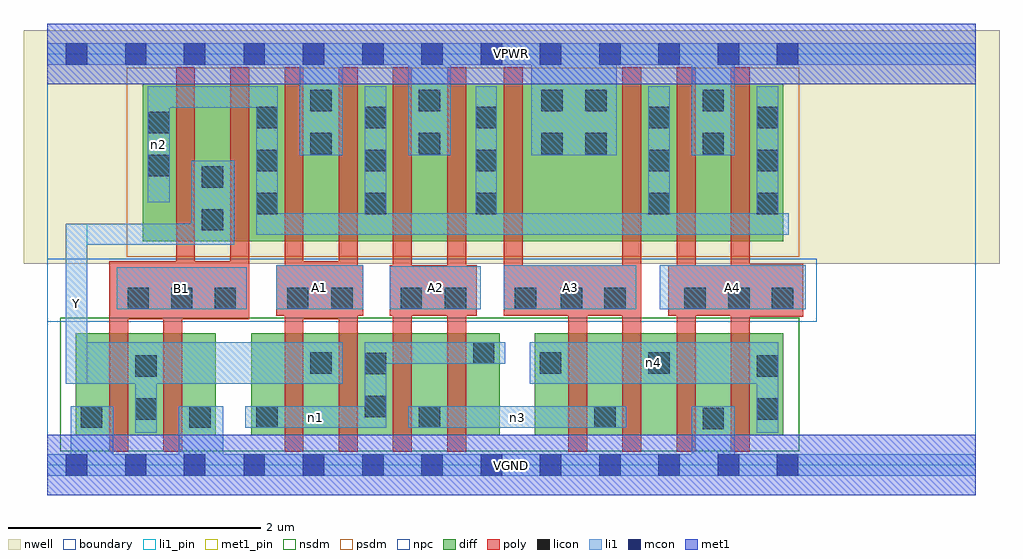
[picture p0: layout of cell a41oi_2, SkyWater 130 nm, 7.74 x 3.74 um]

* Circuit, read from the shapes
.subckt a41oi_2 A1 A2 A3 A4 B1 VGND VPWR Y n1 n2 n3 n4
XM1 Y B1 VGND VSUBS sky130_fd_pr__nfet_01v8 w=0.81 l=0.15 m=2
XM2 Y A1 n1 VSUBS sky130_fd_pr__nfet_01v8 w=0.81 l=0.15 m=2
XM3 n3 A2 n1 VSUBS sky130_fd_pr__nfet_01v8 w=0.81 l=0.15 m=2
XM4 n3 A3 n4 VSUBS sky130_fd_pr__nfet_01v8 w=0.81 l=0.15 m=2
XM5 VGND A4 n4 VSUBS sky130_fd_pr__nfet_01v8 w=0.81 l=0.15 m=2
XM6 Y B1 n2 n5 sky130_fd_pr__pfet_01v8 w=1.25 l=0.15 m=2
XM7 VPWR A1 n2 n5 sky130_fd_pr__pfet_01v8 w=1.25 l=0.15 m=2
XM8 VPWR A2 n2 n5 sky130_fd_pr__pfet_01v8 w=1.25 l=0.15 m=2
XM9 VPWR A3 n2 n5 sky130_fd_pr__pfet_01v8 w=1.25 l=0.15 m=2
XM10 VPWR A4 n2 n5 sky130_fd_pr__pfet_01v8 w=1.25 l=0.15 m=2
.ends

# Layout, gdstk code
import gdstk
lib = gdstk.Library(unit=1e-6, precision=1e-09)
def R(c, l, rs):  # rectangles x0, y0, x1, y1
    for r in rs: c.add(gdstk.rectangle(r[:2], r[2:], *l))
def A(c, l, x, y, w, h, nx, ny, dx, dy):  # array of equal rectangles
    R(c, l, [(x+i*dx, y+j*dy, x+i*dx+w, y+j*dy+h) for i in range(nx) for j in range(ny)])
nwell = (64, 20)
diff = (65, 20)
poly = (66, 20)
licon = (66, 44)
li1_pin = (67, 16)
li1 = (67, 20)
mcon = (67, 44)
met1_pin = (68, 16)
met1 = (68, 20)
nsdm = (93, 44)
psdm = (94, 20)
npc = (95, 20)
boundary = (235, 4)

a41oi_2 = lib.new_cell('a41oi_2')
R(a41oi_2, nwell, [(-0.19,1.595,7.55,3.45), (0,1.595,7.36,3.45)])
R(a41oi_2, diff, [(0.225,0.235,1.335,1.045), (1.615,0.235,3.585,1.045), (3.865,0.235,5.835,1.045), (0.755,1.775,5.835,3.025)])
A(a41oi_2, poly, 1.88, 0.105, 0.15, 3.05, 4, 1, 0.43, 0)
A(a41oi_2, poly, 4.56, 0.105, 0.15, 3.05, 3, 1, 0.43, 0)
R(a41oi_2, poly, [(0.49,0.105,0.64,1.615), (0.92,0.105,1.07,1.615), (4.13,0.105,4.28,1.585), (0.49,1.155,1.6,1.615), (1.02,1.155,1.17,3.155), (1.45,1.155,1.6,3.155), (1.88,1.155,2.46,1.615), (5.42,1.175,5.995,1.595), (1.815,1.185,2.505,1.585), (2.715,1.185,3.405,1.585), (3.62,1.185,4.71,1.585), (3.62,1.185,3.77,3.155), (4.925,1.185,5.995,1.585)])
A(a41oi_2, licon, 0.635, 1.235, 0.17, 0.17, 3, 1, 0.345, 0)
A(a41oi_2, licon, 1.655, 1.99, 0.17, 0.17, 1, 3, 0, 0.34)
A(a41oi_2, licon, 2.515, 1.99, 0.17, 0.17, 1, 3, 0, 0.34)
A(a41oi_2, licon, 3.395, 1.99, 0.17, 0.17, 1, 3, 0, 0.34)
A(a41oi_2, licon, 4.765, 1.99, 0.17, 0.17, 1, 3, 0, 0.34)
A(a41oi_2, licon, 5.625, 1.99, 0.17, 0.17, 1, 3, 0, 0.34)
R(a41oi_2, licon, [(5.195,0.285,5.365,0.455), (0.265,0.295,0.435,0.465), (1.125,0.295,1.295,0.465), (1.655,0.295,1.825,0.465), (2.945,0.295,3.115,0.465), (4.335,0.295,4.505,0.465), (0.695,0.36,0.865,0.53), (5.625,0.36,5.795,0.53), (2.515,0.38,2.685,0.55), (0.695,0.7,0.865,0.87), (5.625,0.7,5.795,0.87), (2.515,0.72,2.685,0.89), (2.085,0.725,2.255,0.895), (3.905,0.725,4.075,0.895), (4.765,0.725,4.935,0.895), (3.375,0.805,3.545,0.975), (1.9,1.235,2.07,1.405), (2.25,1.235,2.42,1.405), (2.8,1.235,2.97,1.405), (3.15,1.235,3.32,1.405), (3.705,1.235,3.875,1.405), (4.07,1.235,4.24,1.405), (4.415,1.235,4.585,1.405), (5.05,1.235,5.22,1.405), (5.4,1.235,5.57,1.405), (5.745,1.235,5.915,1.405), (1.225,1.86,1.395,2.03), (1.225,2.2,1.395,2.37), (0.795,2.29,0.965,2.46), (2.085,2.465,2.255,2.635), (2.945,2.465,3.115,2.635), (3.915,2.465,4.085,2.635), (4.265,2.465,4.435,2.635), (5.195,2.465,5.365,2.635), (0.795,2.63,0.965,2.8), (2.085,2.805,2.255,2.975), (2.945,2.805,3.115,2.975), (3.915,2.805,4.085,2.975), (4.265,2.805,4.435,2.975), (5.195,2.805,5.365,2.975)])
R(a41oi_2, li1_pin, [(0.145,0.645,0.315,1.915), (0.55,1.235,1.58,1.57), (1.815,1.235,2.505,1.585), (2.715,1.235,3.435,1.575), (3.62,1.235,4.67,1.585), (4.855,1.235,6.015,1.585)])
R(a41oi_2, li1, [(0,-0.085,7.36,0.085), (0.185,-0.085,0.52,0.465), (1.04,-0.085,1.395,0.465), (5.11,-0.085,5.45,0.465), (0.695,0.255,0.865,0.975), (5.625,0.255,5.795,0.975), (1.57,0.295,2.685,0.465), (2.515,0.295,2.685,0.975), (2.86,0.295,4.59,0.465), (0.145,0.645,2.34,0.975), (0.145,0.645,0.315,1.915), (3.825,0.645,5.795,0.975), (2.515,0.805,3.63,0.975), (0.55,1.235,1.58,1.57), (1.815,1.235,2.505,1.585), (2.715,1.235,3.435,1.575), (3.62,1.235,4.67,1.585), (4.855,1.235,6.015,1.585), (0.145,1.745,1.48,1.915), (1.14,1.745,1.48,2.415), (1.655,1.825,5.88,1.995), (1.655,1.825,1.825,3.005), (2.515,1.825,2.685,3.005), (3.395,1.825,3.565,3.005), (4.765,1.825,4.935,3.005), (5.625,1.825,5.795,3.005), (0.795,2.085,0.97,3.005), (2,2.455,2.34,3.345), (2.86,2.455,3.2,3.345), (3.835,2.455,4.515,3.345), (5.11,2.455,5.45,3.345), (0.795,2.835,1.825,3.005), (0,3.175,7.36,3.345)])
A(a41oi_2, mcon, 1.555, -0.085, 0.17, 0.17, 10, 2, 0.47, 3.26)
R(a41oi_2, mcon, [(0.145,-0.085,0.315,0.085), (0.615,-0.085,0.785,0.085), (1.08,-0.085,1.25,0.085), (0.145,3.175,0.315,3.345), (0.615,3.175,0.785,3.345), (1.08,3.175,1.25,3.345)])
R(a41oi_2, met1_pin, [(0,-0.24,7.36,0.24), (0,3.02,7.36,3.5)])
R(a41oi_2, met1, [(0,-0.24,7.36,0.24), (0,3.02,7.36,3.5)])
R(a41oi_2, nsdm, [(0.1,0.11,5.96,1.17)])
R(a41oi_2, psdm, [(0.63,1.65,5.96,3.15)])
R(a41oi_2, npc, [(0,1.135,6.1,1.635)])
R(a41oi_2, boundary, [(0,0,7.36,3.26)])
a41oi_2.add(gdstk.Label('A1', (2.16,1.41), layer=67, texttype=5))
a41oi_2.add(gdstk.Label('A2', (3.075,1.405), layer=67, texttype=5))
a41oi_2.add(gdstk.Label('A3', (4.145,1.41), layer=67, texttype=5))
a41oi_2.add(gdstk.Label('A4', (5.435,1.41), layer=67, texttype=5))
a41oi_2.add(gdstk.Label('B1', (1.065,1.402), layer=67, texttype=5))
a41oi_2.add(gdstk.Label('Y', (0.23,1.28), layer=67, texttype=5))
a41oi_2.add(gdstk.Label('n3', (3.725,0.38), layer=67, texttype=5))
a41oi_2.add(gdstk.Label('n1', (2.127,0.38), layer=67, texttype=5))
a41oi_2.add(gdstk.Label('n4', (4.81,0.81), layer=67, texttype=5))
a41oi_2.add(gdstk.Label('n2', (0.882,2.545), layer=67, texttype=5))
a41oi_2.add(gdstk.Label('VPWR', (3.68,3.26), layer=68, texttype=5))
a41oi_2.add(gdstk.Label('VGND', (3.68,0), layer=68, texttype=5))
a41oi_2.add(gdstk.Label('A1', (2.16,1.41), layer=67, texttype=16))
a41oi_2.add(gdstk.Label('A2', (3.075,1.405), layer=67, texttype=16))
a41oi_2.add(gdstk.Label('A3', (4.145,1.41), layer=67, texttype=16))
a41oi_2.add(gdstk.Label('A4', (5.435,1.41), layer=67, texttype=16))
a41oi_2.add(gdstk.Label('B1', (1.065,1.402), layer=67, texttype=16))
a41oi_2.add(gdstk.Label('Y', (0.23,1.28), layer=67, texttype=16))
a41oi_2.add(gdstk.Label('VPWR', (3.68,3.26), layer=68, texttype=16))
a41oi_2.add(gdstk.Label('VGND', (3.68,0), layer=68, texttype=16))

lib.write_gds('a41oi_2.gds')
